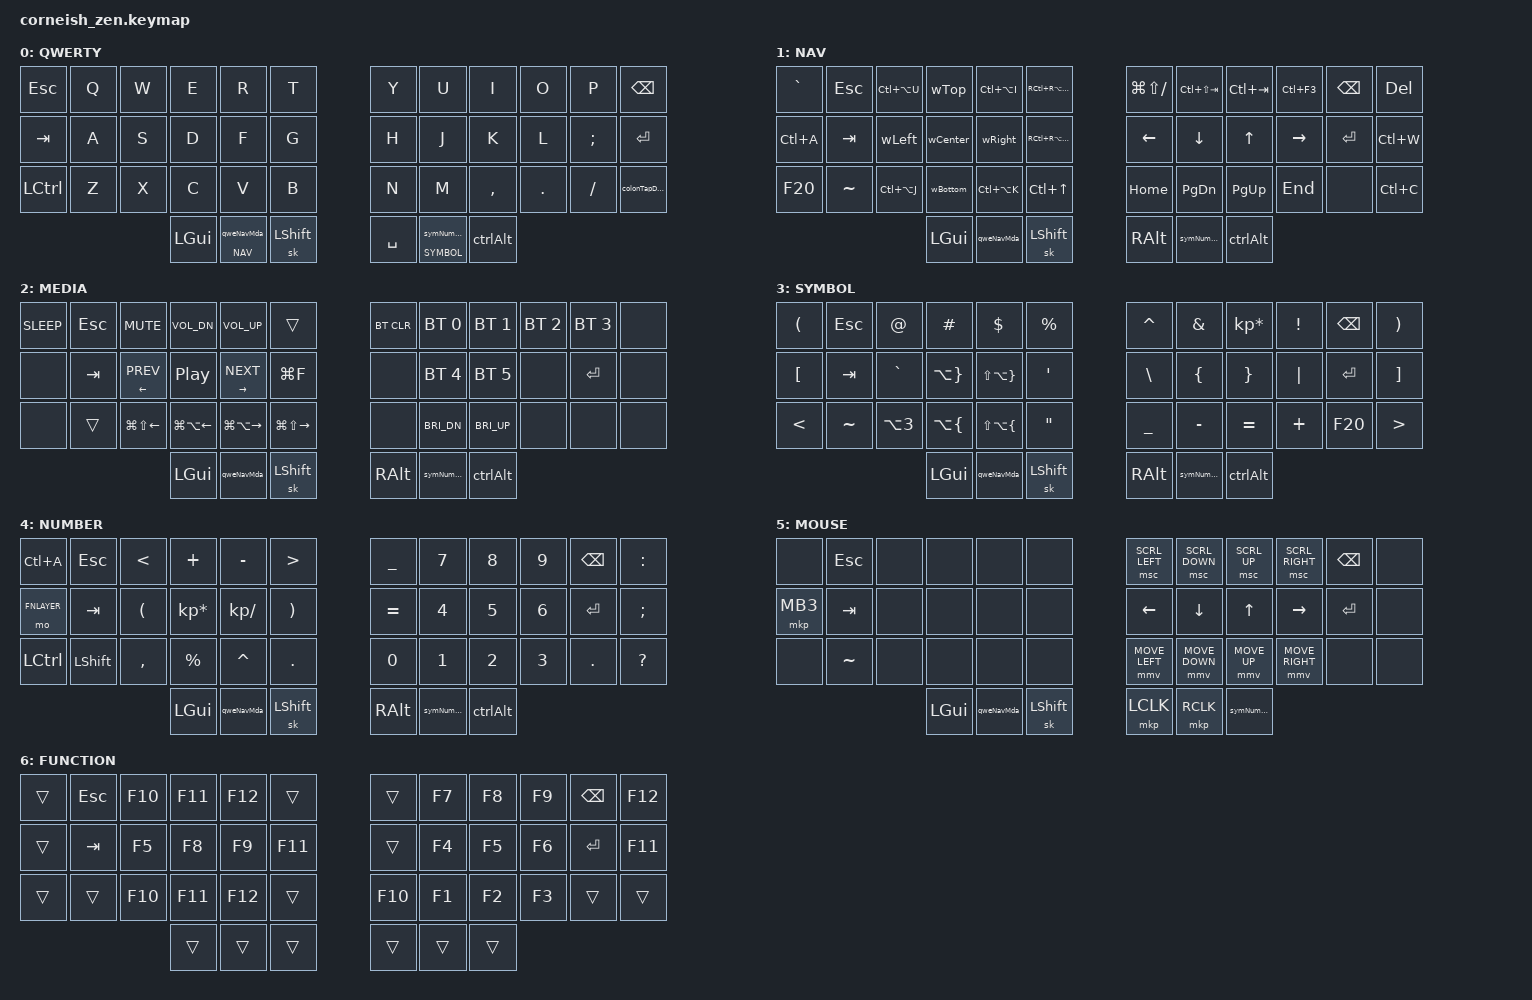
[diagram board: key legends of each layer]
/*
*
* Copyright (c) 2023 Alex Montgomery
* SPDX-License-Identifier: MIT
*
*/

#include <behaviors.dtsi>
#include <dt-bindings/zmk/keys.h>
#include <dt-bindings/zmk/bt.h>
#include <dt-bindings/zmk/mouse.h>

// Layer aliases
#define QWERTY  0
#define NAV     1
#define MEDIABT 2
#define SYMBOL  3
#define NUMBER  4
#define MOUSE   5
#define FNLAYER 6

// window manager shortcuts ok
#define WTOPLEFT  LC(LA(U))
#define WTOPRIGHT LC(LA(I))
#define WBTMLEFT  LC(LA(J))
#define WBTMRIGHT LC(LA(K))
#define WNEXTSCRN RC(RA(RG(RIGHT)))
#define WPREVSCRN RC(RA(RG(LEFT)))
// Window thirds
#define WLEFT_THIRD LC(LA(D))
#define WCENTER_THIRD LC(LA(F))
#define WRIGHT_THIRD LC(LA(G))
#define WTOP_THIRD LC(LA(D))  // Using D for consistency
#define WBOTTOM_THIRD LC(LA(G))  // Using G for consistency
// Window halves
#define WLEFT_HALF LC(LA(LEFT))
#define WRIGHT_HALF LC(LA(RIGHT))
#define WTOP_HALF LC(LA(UP))
#define WBOTTOM_HALF LC(LA(DOWN))
// Window two-thirds
#define WLEFT_TWO_THIRDS LC(LA(E))
#define WCENTER_TWO_THIRDS LC(LA(R))
#define WRIGHT_TWO_THIRDS LC(LA(T))
// Window center and fullscreen
#define WMAXIMIZE LC(LA(ENTER))  // Cmd+Shift+F for fullscreen
#define WFULLSCREEN LGUI(LC(F))  // Cmd+Shift+F for fullscreen
#define WRESTORE LC(LA(BACKSPACE))

// tab navigation shortcuts
#define TAB_RT   LC(TAB)
#define TAB_LT   LC(LS(TAB))
// macOS specific commands
#define FILEMENU LG(LS(SLASH))  // Cmd+Shift+/ for help menu search
#define DOCK     LC(F3)

// media navigation shortcuts
#define FWD10S   LG(LA(RIGHT_ARROW)) 
#define RWD10S   LG(LA(LEFT_ARROW))
#define FWD1M   LG(LS(RIGHT_ARROW)) 
#define RWD1M   LG(LS(LEFT_ARROW))

/ {
  chosen {
    zmk,matrix_transform = &default_transform;
    //zmk,matrix_transform = &five_column_transform;
  };
};

&mmv {
    time-to-max-speed-ms = <1000>;
    acceleration-exponent=<1>;
};

/ {
        behaviors {
                ms: mod_sticky_key {
                compatible = "zmk,behavior-hold-tap";
                #binding-cells = <2>;
                flavor = "hold-preferred";
                tapping-term-ms = <200>;
                bindings = <&kp>, <&sk>;
                };
                ctrlAlt: tap_dance_0 {
                compatible = "zmk,behavior-tap-dance";
                #binding-cells = <0>;
                tapping-term-ms = <200>;
                bindings = <&ms LS(LC(LALT)) RALT>, <&sk RCTL>, <&sk RC(RALT)>;
                };
                shiftCap: tap_dance_1 {
                compatible = "zmk,behavior-tap-dance";
                #binding-cells = <0>;
                tapping-term-ms = <200>;
                bindings = <&sk LSHIFT>, <&kp CAPSLOCK>;
                };
                qweNavMda: tap_dance_2 {
                compatible = "zmk,behavior-tap-dance";
                #binding-cells = <0>;
                tapping-term-ms = <300>;
                bindings = <&to QWERTY>, <&to NAV>, <&to MEDIABT>;
                };
                symNumMse: tap_dance_3 {
                compatible = "zmk,behavior-tap-dance";
                #binding-cells = <0>;
                tapping-term-ms = <300>;
                bindings = <&to SYMBOL>, <&to NUMBER>, <&to MOUSE>;
                };
                // Window positioning tap dances
                wLeft: window_left_dance {
                compatible = "zmk,behavior-tap-dance";
                #binding-cells = <0>;
                tapping-term-ms = <200>;
                bindings = <&kp WLEFT_THIRD>, <&kp WLEFT_HALF>, <&kp WLEFT_TWO_THIRDS>;
                };
                wRight: window_right_dance {
                compatible = "zmk,behavior-tap-dance";
                #binding-cells = <0>;
                tapping-term-ms = <200>;
                bindings = <&kp WRIGHT_THIRD>, <&kp WRIGHT_HALF>, <&kp WRIGHT_TWO_THIRDS>;
                };
                wTop: window_top_dance {
                compatible = "zmk,behavior-tap-dance";
                #binding-cells = <0>;
                tapping-term-ms = <200>;
                bindings = <&kp WTOP_THIRD>, <&kp WTOP_HALF>, <&kp WTOP_THIRD>;
                };
                wBottom: window_bottom_dance {
                compatible = "zmk,behavior-tap-dance";
                #binding-cells = <0>;
                tapping-term-ms = <200>;
                bindings = <&kp WBOTTOM_THIRD>, <&kp WBOTTOM_HALF>, <&kp WBOTTOM_THIRD>;
                };
                wCenter: window_center_dance {
                compatible = "zmk,behavior-tap-dance";
                #binding-cells = <0>;
                tapping-term-ms = <200>;
                bindings = <&kp WCENTER_THIRD>, <&kp WCENTER_TWO_THIRDS>, <&kp WMAXIMIZE>;
                };
               //  wCenterHold: window_center_hold {
               //  compatible = "zmk,behavior-hold-tap";
               //  #binding-cells = <2>;
               //  flavor = "tap-preferred";
               //  tapping-term-ms = <200>;
               //  bindings = <&kp>, <&wCenter>;
               //  };
                colonTapDance: colon_tap_dance {
                compatible = "zmk,behavior-tap-dance";
                #binding-cells = <0>;
                tapping-term-ms = <200>;
                bindings = <&kp COLON>, <&kp LC(LG(D))>;
                };
                symHoldTap: symbol_hold_tap {
                compatible = "zmk,behavior-hold-tap";
                #binding-cells = <2>;
                flavor = "tap-preferred";
                tapping-term-ms = <200>;
                bindings = <&mo>, <&symNumMse>;
                };
                navHoldTap: nav_hold_tap {
                compatible = "zmk,behavior-hold-tap";
                #binding-cells = <2>;
                flavor = "tap-preferred";
                tapping-term-ms = <200>;
                bindings = <&mo>, <&qweNavMda>;
                };
                mediaCtrl: media_hold_tap {
                compatible = "zmk,behavior-hold-tap";
                #binding-cells = <2>;
                flavor = "tap-preferred";
                tapping-term-ms = <200>;
                bindings = <&kp>, <&kp>;
                };
        };

        keymap {
                compatible = "zmk,keymap";

// ╭─ QWERTY ────────────────────────╮   ╭───────────────────────────────────╮
// ⎟ ESC ⎟  Q  ⎟  W  ⎟  E  ⎟  R  ⎟ T ⎟   ⎟  Y  ⎟  U  ⎟  I  ⎟  O  ⎟  P  ⎟ BSP ⎟
// ⎟ TAB ⎟  A  ⎟  S  ⎟  D  ⎟  F  ⎟ G ⎟   ⎟  H  ⎟  J  ⎟  K  ⎟  L  ⎟  ;  ⎟ ENT ⎟
// ⎟CTRL ⎟  Z  ⎟  X  ⎟  C  ⎟  V  ⎟ B ⎟   ⎟  N  ⎟  M  ⎟  ,  ⎟  .  ⎟  /  ⎟  :  ⎟
// ╰─────────────────⎟  ⌘  ⎟  ⧉  ⎟ ⇧ ⎟   ⎟  ␣  ⎟  ⧉  ⎟ ⌃⎇  ⎟─────────────────╯
//                   ╰───────────────╯   ╰─────────────────╯
// ╭─ ADJUST ────────────────────╮   ╭─────────────────────────────╮
// ⎟ ESC ⎟  ↖  ⎟  ↑  ⎟  ↗  ⎟  ⍐  ⎟   ⎟file ⎟ tab←⎟ tab→⎟dock ⎟  ⌫  ⎟
// ⎟  ⇥  ⎟  ←  ⎟  ▣  ⎟  →  ⎟  ⍗  ⎟   ⎟  ◄  ⎟  ▼  ⎟  ▲  ⎟  ►  ⎟  ⮐ ⎟
// ⎟  ~  ⎟  ↙  ⎟  ↓  ⎟  ↘  ⎟  ⊞  ⎟   ⎟     ⎟     ⎟     ⎟     ⎟     ⎟
// ╰───────────⎟  ⌘  ⎟  ⧉  ⎟  ⇧  ⎟   ⎟  ␣  ⎟ ⧉  ⎟ ⌃⎇ ⎟───────────╯
//             ╰─────────────────╯   ╰─────────────────╯
// ╭─ MEDIA/BT ──────────────────╮   ╭─────────────────────────────╮
// ⎟ ESC ⎟ mute⎟ vol-⎟ vol+ ⎟    ⎟   ⎟ clr⦖⎟  ⦖1 ⎟  ⦖2 ⎟ ⦖3 ⎟  ⌫  ⎟
// ⎟  ⇥  ⎟  ◄◄ ⎟  ►  ⎟  ►►  ⎟  ▣ ⎟   ⎟     ⎟  ⦖4 ⎟  ⦖5 ⎟    ⎟  ⮐  ⎟
// ⎟  ~  ⎟ ◄◄◄ ⎟  ◄◄ ⎟  ►►  ⎟ ►►►⎟   ⎟     ⎟  ☼- ⎟  ☼+ ⎟     ⎟     ⎟
// ╰───────────⎟  ⌘  ⎟  ⧉  ⎟  ⇧  ⎟   ⎟  ␣  ⎟ ⧉  ⎟ ⌃⎇ ⎟───────────╯
//             ╰─────────────────╯   ╰─────────────────╯
// ╭─ SYMBOL ────────────────────╮   ╭─────────────────────────────╮
// ⎟ ESC ⎟  @  ⎟  #  ⎟  $  ⎟  %  ⎟   ⎟  ^  ⎟  &  ⎟  *  ⎟  !  ⎟  ⌫  ⎟
// ⎟  ⇥  ⎟  `  ⎟  ’  ⎟  ’  ⎟  '  ⎟   ⎟  \  ⎟  {  ⎟  }  ⎟  ⎟  ⎟ ⮐  ⎟
// ⎟  ~  ⎟  £  ⎟  ”  ⎟  ”  ⎟  "  ⎟   ⎟  [  ⎟  (  ⎟  )  ⎟  ]  ⎟     ⎟
// ╰───────────⎟  ⌘  ⎟  ⧉  ⎟  ⇧  ⎟   ⎟  ␣  ⎟ ⧉  ⎟ ⌃⎇ ⎟───────────╯
//             ╰─────────────────╯   ╰─────────────────╯
// ╭─ NUMBER ────────────────────╮   ╭─────────────────────────────╮
// ⎟ ESC ⎟  <  ⎟   +  ⎟  -  ⎟  > ⎟   ⎟  _  ⎟  7  ⎟  8  ⎟  9  ⎟  ⌫  ⎟
// ⎟   ⇥ ⎟  (  ⎟   *  ⎟  /  ⎟  ) ⎟   ⎟  =  ⎟  4  ⎟  5  ⎟  6  ⎟  ⮐ ⎟
// ⎟   ~ ⎟  ,  ⎟   %  ⎟  ^  ⎟  . ⎟   ⎟  0  ⎟  1  ⎟  2  ⎟  3  ⎟     ⎟
// ╰───────────⎟  ⌘  ⎟  ⧉  ⎟  ⇧  ⎟   ⎟  ␣  ⎟ ⧉  ⎟ ⌃⎇ ⎟───────────╯
//             ╰─────────────────╯   ╰─────────────────╯
// ╭─ MOUSE ─────────────────────╮   ╭─────────────────────────────╮
// ⎟ ESC ⎟     ⎟     ⎟     ⎟     ⎟   ⎟scrl◄⎟scrl▼⎟scrl▲⎟scrl►⎟  ⌫  ⎟
// ⎟  ⇥  ⎟     ⎟     ⎟     ⎟     ⎟   ⎟  ◄  ⎟  ▼  ⎟  ▲  ⎟  ►  ⎟ ⮐  ⎟
// ⎟  ~  ⎟     ⎟     ⎟     ⎟     ⎟   ⎟mse ◄⎟mse ▼⎟mse ▲⎟mse ►⎟     ⎟
// ╰───────────⎟  ⌘  ⎟  ⧉  ⎟  ⇧  ⎟   ⎟ 🖱️1 ⎟ 🖱️2 ⎟  ⧉ ⎟───────────╯
//             ╰─────────────────╯   ╰─────────────────╯

                default_layer {
                        display-name = "QWERTY";
                        bindings = <
// ╭───────┬───────┬───────┬────────┬─────────────────┬─────────╮   ╭──────────┬──────────────────┬──────────┬───────┬────────┬─────────────╮
    &kp ESC  &kp Q   &kp W   &kp E     &kp R           &kp T         &kp Y         &kp U            &kp I      &kp O   &kp P    &kp BSPC
// ├───────┼───────┼───────┼────────┼─────────────────┼─────────┤   ├──────────┼──────────────────┼──────────┼───────┼────────┼─────────────┤
    &kp TAB  &kp A   &kp S   &kp D     &kp F           &kp G         &kp H         &kp J            &kp K      &kp L  &kp SEMI &kp ENTER
// ├───────┼───────┼───────┼────────┼─────────────────┼─────────┤   ├──────────┼──────────────────┼──────────┼───────┼────────┼─────────────┤
    &kp LCTRL &kp Z  &kp X   &kp C     &kp V           &kp B         &kp N         &kp M           &kp COMMA  &kp DOT &kp FSLH &colonTapDance
// ╰───────┴───────┴───────┼────────┼─────────────────┼─────────┤   ├──────────┼──────────────────┼──────────┴───────┴────────┴─────────────╯
                            &kp LGUI &navHoldTap NAV 0 &sk LSHIFT    &kp SPACE &symHoldTap SYMBOL 0 &ctrlAlt
//                         ╰────────┴─────────────────┴─────────╯   ╰──────────┴──────────────────┴──────────╯
                        >;
                };

                nav_layer {
                        display-name = "NAV";
                        bindings = <
// ╭──────────┬──────────┬─────────────┬────────────┬─────────────┬────────────╮   ╭────────────┬──────────┬──────────┬────────┬──────────┬─────────╮
     &kp GRAVE &kp ESC     &kp WTOPLEFT &wTop        &kp WTOPRIGHT &kp WNEXTSCRN    &kp FILEMENU &kp TAB_LT &kp TAB_RT &kp DOCK  &kp BSPC   &kp DEL
// ├──────────┼──────────┼─────────────┼────────────┼─────────────┼────────────┤   ├────────────┼──────────┼──────────┼────────┼──────────┼─────────┤
     &kp LC(A) &kp TAB     &wLeft       &wCenter     &wRight       &kp WPREVSCRN    &kp LEFT     &kp DOWN   &kp UP     &kp RIGHT &kp ENTER  &kp LC(W)
// ├──────────┼──────────┼─────────────┼────────────┼─────────────┼────────────┤   ├────────────┼──────────┼──────────┼────────┼──────────┼─────────┤
     &kp F20   &kp TILDE   &kp WBTMLEFT &wBottom     &kp WBTMRIGHT &kp LC(UP)       &kp HOME     &kp PG_DN  &kp PG_UP  &kp END   &none      &kp LC(C)
// ╰──────────┴──────────┴─────────────┼────────────┼─────────────┼────────────┤   ├────────────┼──────────┼──────────┴────────┴──────────┴─────────╯
                                        &kp LGUI     &qweNavMda    &sk LSHIFT       &kp RALT     &symNumMse &ctrlAlt
//                                     ╰────────────┴─────────────┴────────────╯   ╰────────────┴──────────┴──────────╯
                        >;
                };

                media_layer {
                        display-name = "MEDIA";
                        bindings = <
// ╭──────────┬────────┬─────────────────────┬────────────────┬───────────────────────┬────────────╮   ╭──────────┬────────────┬────────────┬────────────┬───────────┬──────╮
   &kp C_SLEEP &kp ESC  &kp K_MUTE            &kp C_VOL_DN     &kp C_VOL_UP            &trans           &bt BT_CLR &bt BT_SEL 0 &bt BT_SEL 1 &bt BT_SEL 2 &bt BT_SEL 3 &none
// ├──────────┼────────┼─────────────────────┼────────────────┼───────────────────────┼────────────┤   ├──────────┼────────────┼────────────┼────────────┼───────────┼──────┤
    &none      &kp TAB  &mediaCtrl LEFT C_PREV &kp C_PLAY_PAUSE &mediaCtrl RIGHT C_NEXT &kp LG(F)       &none      &bt BT_SEL 4 &bt BT_SEL 5 &none        &kp ENTER    &none
// ├──────────┼────────┼─────────────────────┼────────────────┼───────────────────────┼────────────┤   ├──────────┼────────────┼────────────┼────────────┼───────────┼──────┤
    &none      &trans   &kp RWD1M             &kp RWD10S       &kp FWD10S              &kp FWD1M        &none      &kp C_BRI_DN &kp C_BRI_UP &none        &none        &none
// ╰──────────┴────────┴─────────────────────┼────────────────┼───────────────────────┼────────────┤   ├──────────┼────────────┼────────────┴────────────┴───────────┴──────╯
                                                               &kp LGUI &qweNavMda     &sk LSHIFT       &kp RALT   &symNumMse   &ctrlAlt
//                                                            ╰─────────┴─────────────┴────────────╯   ╰──────────┴────────────┴────────────╯
                        >;
                };

                sym_layer {
                        display-name = "SYMBOL";
                        bindings = <
// ╭─────────┬─────────┬────────────┬────────────┬───────────────┬─────────────────╮   ╭────────────┬──────────┬──────────────┬────────┬─────────┬──────────╮
     &kp LPAR  &kp ESC   &kp AT      &kp HASH     &kp DLLR         &kp PRCNT             &kp CARET    &kp AMPS &kp KP_MULTIPLY &kp EXCL &kp BSPC  &kp RPAR
// ├─────────┼─────────┼────────────┼────────────┼───────────────┼─────────────────┤   ├────────────┼──────────┼──────────────┼────────┼─────────┼──────────┤
     &kp LBKT  &kp TAB   &kp GRAVE   &kp LA(RBRC) &kp LS(LA(RBRC)) &kp SINGLE_QUOTE      &kp BSLH     &kp LBRC  &kp RBRC       &kp PIPE &kp ENTER &kp RBKT
// ├─────────┼─────────┼────────────┼────────────┼───────────────┼─────────────────┤   ├────────────┼──────────┼──────────────┼────────┼─────────┼──────────┤
     &kp LT    &kp TILDE &kp LA(N3)  &kp LA(LBRC) &kp LS(LA(LBRC)) &kp DOUBLE_QUOTES   &kp UNDERSCORE &kp MINUS &kp EQUAL      &kp PLUS &kp F20     &kp GT
// ╰─────────┴─────────┴────────────┼────────────┼───────────────┼─────────────────┤   ├────────────┼──────────┼──────────────┴────────┴─────────┴──────────╯
                                     &kp LGUI     &qweNavMda       &sk LSHIFT            &kp RALT    &symNumMse &ctrlAlt
//                                  ╰────────────┴───────────────┴─────────────────╯   ╰────────────┴──────────┴──────────────╯
                        >;
                };

                num_layer {
                        display-name = "NUMBER";
                        bindings = <
// ╭───────────┬─────────────┬─────────────┬──────────────┬──────────────┬──────────────╮   ╭──────────────┬──────────┬─────────┬────────┬──────────┬──────────╮
    &kp LC(A)   &kp ESC       &kp LESS_THAN &kp PLUS       &kp MINUS      &kp GREATER_THAN   &kp UNDERSCORE &kp N7     &kp N8    &kp N9   &kp BSPC   &kp COLON
// ├───────────┼─────────────┼─────────────┼──────────────┼──────────────┼──────────────┤   ├──────────────┼──────────┼─────────┼────────┼──────────┼──────────┤
    &mo FNLAYER &kp TAB       &kp LPAR      &kp KP_MULTIPLY &kp KP_DIVIDE &kp RPAR           &kp EQUAL      &kp N4     &kp N5    &kp N6   &kp ENTER  &kp SEMI
// ├───────────┼─────────────┼─────────────┼──────────────┼──────────────┼──────────────┤   ├──────────────┼──────────┼─────────┼────────┼──────────┼──────────┤
    &kp LCTRL  &kp LEFT_SHIFT &kp COMMA     &kp PERCENT    &kp CARET      &kp DOT            &kp N0         &kp N1     &kp N2    &kp N3   &kp DOT    &kp QMARK
// ╰───────────┴─────────────┴─────────────┼──────────────┼──────────────┼──────────────┤   ├──────────────┼──────────┼─────────┴────────┴──────────┴──────────╯
                                            &kp LGUI       &qweNavMda     &sk LSHIFT         &kp RALT       &symNumMse &ctrlAlt
//                                         ╰──────────────┴──────────────┴──────────────╯   ╰──────────────┴──────────┴─────────╯
                        >;
                };

                mouse_layer {
                        display-name = "MOUSE";
                        bindings = <
// ╭────────┬─────────┬───────┬────────┬──────────┬─────────╮    ╭──────────────┬──────────────┬────────────┬───────────────┬─────────────┬──────╮
    &none    &kp ESC   &none   &none    &none      &none          &msc SCRL_LEFT &msc SCRL_DOWN &msc SCRL_UP &msc SCRL_RIGHT &kp BACKSPACE &none
// ├────────┼─────────┼───────┼────────┼──────────┼─────────┤    ├──────────────┼──────────────┼────────────┼───────────────┼─────────────┼──────┤
    &mkp MB3 &kp TAB   &none   &none    &none      &none          &kp LEFT       &kp DOWN       &kp UP       &kp RIGHT       &kp ENTER     &none
// ├────────┼─────────┼───────┼────────┼──────────┼─────────┤    ├──────────────┼──────────────┼────────────┼───────────────┼─────────────┼──────┤
    &none    &kp TILDE &none   &none    &none      &none          &mmv MOVE_LEFT &mmv MOVE_DOWN &mmv MOVE_UP &mmv MOVE_RIGHT &none         &none
// ╰────────┴─────────┴───────┼────────┼──────────┼─────────┤    ├──────────────┼──────────────┼────────────┴───────────────┴─────────────┴──────╯
                               &kp LGUI &qweNavMda &sk LSHIFT     &mkp LCLK      &mkp RCLK      &symNumMse
//                            ╰────────┴──────────┴─────────╯    ╰──────────────┴──────────────┴────────────╯
                        >;
                };

                fn_layer {
                        display-name = "FUNCTION";
                        bindings = <
// ╭─────────┬──────────────┬───────────┬─────────────┬───────────────┬──────────────╮   ╭──────────────┬────────────┬────────────┬────────────┬────────────┬───────────╮
     &trans      &kp ESC       &kp F10      &kp F11       &kp F12        &trans             &trans         &kp F7       &kp F8       &kp F9       &kp BSPC     &kp F12
// ├─────────┼──────────────┼───────────┼─────────────┼───────────────┼──────────────┤   ├──────────────┼────────────┼────────────┼────────────┼────────────┼───────────┤
     &trans      &kp TAB       &kp F5       &kp F8        &kp F9         &kp F11            &trans         &kp F4       &kp F5       &kp F6       &kp ENTER    &kp F11
// ├─────────┼──────────────┼───────────┼─────────────┼───────────────┼──────────────┤   ├──────────────┼────────────┼────────────┼────────────┼────────────┼───────────┤
     &trans      &trans        &kp F10      &kp F11       &kp F12        &trans             &kp F10        &kp F1       &kp F2       &kp F3       &trans       &trans
// ╰─────────┴──────────────┴───────────┼─────────────┼───────────────┼──────────────┤   ├──────────────┼────────────┼────────────┴────────────┴────────────┴───────────╯
                                            &trans        &trans         &trans             &trans         &trans       &trans
//                                      ╰─────────────┴───────────────┴──────────────╯   ╰──────────────┴────────────┴────────────╯
                        >;
                };
        };
};
